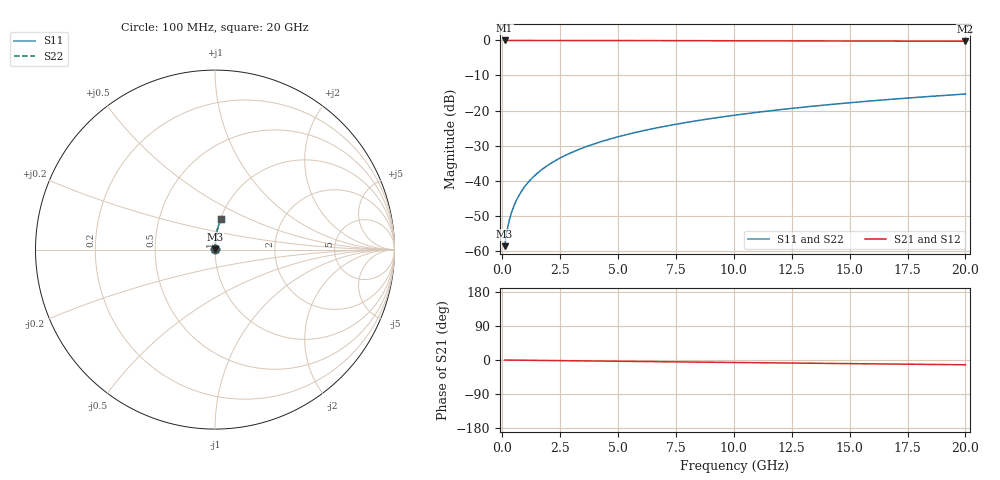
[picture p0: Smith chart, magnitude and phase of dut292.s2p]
! Touchstone file exported from HFSS 2024.1.0
!  File:  C:/UserFiles/LocalFiles/RDL_TSV_Batchsim/temp_RDL_top_292_1778690496.aedt
!  Generated:  12:44:11 AM May 14, 2026
!  Design:  RDL_top
!  Project:  temp_RDL_top_292_1778690496
!  Setup:  Setup1
!  Solution:  Sweep
! Variables:
!  dtsv = 10.80580581um
!  hbump = 3um
!  htsv = 96.75um
!  ldown = 100um
!  lrdl = 112.46um
!  p = 40
!  p1 = 57.82um
!  rhole = 1um
!  t = 450um
!  tdown = 3.915915916um
!  trdl = 4.4um
!  wdown = 15.38538539um
!  wrdl = 14.38um
# GHz S MA R 50.000000
! Terminal data exported
! Port[1] = Box2_T1
! Port[2] = Box2_T2
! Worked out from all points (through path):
!   200 points, 100 MHz to 20 GHz, reference 50 ohm
!   highest |S21| = -0.01 dB at 100 MHz (marker M1); lowest = -0.2 dB at 20 GHz (marker M2)
!   group delay of S21, straight-line fit = 1.74 ps
!   lowest |S11| = -58.7 dB at 100 MHz (marker M3), VSWR 1.00, Z = 50.1 + j0.0868 ohm
!   |S11| at or under -10 dB: start of sweep to end of sweep
!   |S22| runs from -58.7 to -15.3 dB; largest |S21 - S12| = 5.2e-15
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0.1  0.001161 48.3  0.9992 -0.1  0.9992 -0.1  0.001161 48.3
! Gamma 0 0 0 0
! Port Impedance 50 0 50 0
0.2  0.001897 65.3  0.9992 -0.1  0.9992 -0.1  0.001897 65.3
0.3  0.002697 72.4  0.9992 -0.2  0.9992 -0.2  0.002697 72.4
0.4  0.003512 76.3  0.9991 -0.3  0.9991 -0.3  0.003512 76.3
0.5  0.004332 78.7  0.9991 -0.3  0.9991 -0.3  0.004332 78.7
0.7  0.005982 81.5  0.9991 -0.5  0.9991 -0.5  0.005982 81.5
0.8  0.00681 82.5  0.999 -0.6  0.999 -0.6  0.00681 82.5
1  0.008472 83.8  0.999 -0.7  0.999 -0.7  0.008472 83.8
1.2  0.01014 84.6  0.9989 -0.8  0.9989 -0.8  0.01014 84.6
1.4  0.01181 85.3  0.9988 -1.0  0.9988 -1.0  0.01181 85.3
1.7  0.01432 85.9  0.9987 -1.2  0.9987 -1.2  0.01432 85.9
2  0.01683 86.3  0.9985 -1.4  0.9985 -1.4  0.01683 86.3
2.7  0.02272 86.8  0.9981 -1.8  0.9981 -1.8  0.02272 86.8
3.5  0.02947 87.0  0.9975 -2.4  0.9975 -2.4  0.02947 87.0
4.2  0.0354 87.0  0.9968 -2.8  0.9968 -2.8  0.0354 87.0
5  0.04221 86.9  0.996 -3.4  0.996 -3.4  0.04221 86.9
6.8  0.05766 86.4  0.9938 -4.5  0.9938 -4.5  0.05766 86.4
8.3  0.07065 85.8  0.9919 -5.5  0.9919 -5.5  0.07065 85.8
10.1  0.08633 84.9  0.9894 -6.6  0.9894 -6.6  0.08633 84.9
13.4  0.1152 83.1  0.9845 -8.6  0.9845 -8.6  0.1152 83.1
16.7  0.1438 81.1  0.9793 -10.6  0.9793 -10.6  0.1438 81.1
20  0.172 79.0  0.9736 -12.6  0.9736 -12.6  0.172 79.0
